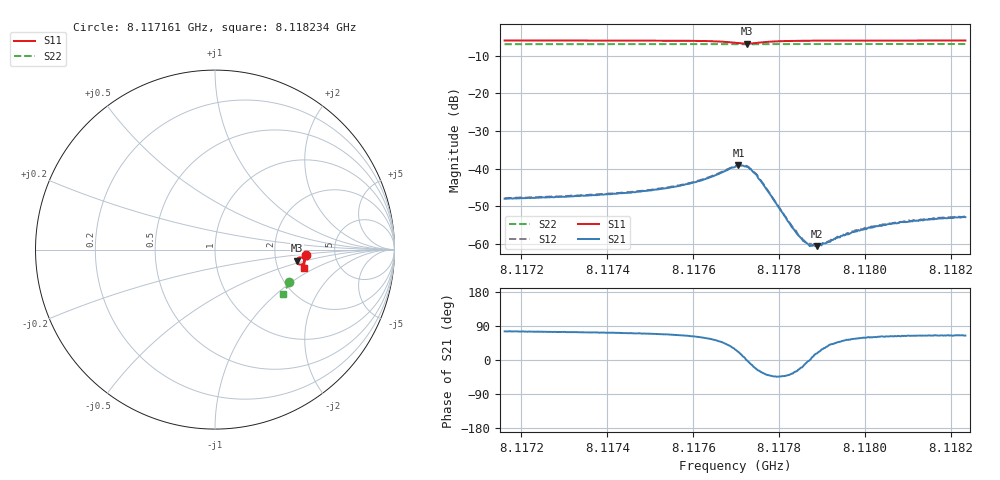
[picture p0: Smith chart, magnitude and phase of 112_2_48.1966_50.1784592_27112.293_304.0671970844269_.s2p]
#  HZ  S  RI  R  50.00
! Rohde & Schwarz Vector Network Analyzer
! Rohde-Schwarz,ZNB20-2Port,1311601062101988,3.16
! Created: UTC 3/20/2024, 11:41:02 AM
! freq[Hz]  re:S11  im:S11  re:S21  im:S21  re:S12  im:S12  re:S22  im:S22
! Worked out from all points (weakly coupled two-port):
!   401 points, 8.117161 GHz to 8.118234 GHz, reference 50 ohm
!   highest |S21| = -39.14 dB at 8.117705 GHz (marker M1); lowest = -60.6 dB at 8.117888 GHz (marker M2)
!   lowest |S11| = -6.8 dB at 8.117724 GHz (marker M3), VSWR 2.70, Z = 131 - j20.2 ohm
!   |S11| at or under -10 dB: nowhere
!   |S22| runs from -6.9 to -6.9 dB; largest |S21 - S12| = 0.00044
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8.1171607e9  0.505 -0.0296  0.000999 0.00387  0.00108 0.00395  0.4136 -0.1801
8.1173404e9  0.5033 -0.0446  0.00127 0.0042  0.00134 0.00425  0.4089 -0.1919
8.1174504e9  0.5016 -0.0548  0.00158 0.00454  0.0017 0.00461  0.406 -0.1991
8.1175201e9  0.4997 -0.0621  0.00197 0.00498  0.00205 0.00508  0.4038 -0.2035
8.1175737e9  0.497 -0.0686  0.00254 0.00548  0.00264 0.00553  0.4021 -0.2069
8.1176193e9  0.4925 -0.0755  0.00351 0.00607  0.00368 0.00614  0.4005 -0.2097
8.1176971e9  0.4645 -0.0804  0.00935 0.00494  0.00958 0.00499  0.3971 -0.2144
8.1177052e9  0.4598 -0.0764  0.0103 0.004  0.0104 0.00378  0.3965 -0.2147
8.1177239e9  0.4549 -0.0607  0.0106 -3.34e-05  0.0109 8.37e-06  0.396 -0.2151
8.11774e9  0.4618 -0.0479  0.00855 -0.00275  0.00875 -0.00271  0.396 -0.2155
8.1177508e9  0.4695 -0.0437  0.00671 -0.00349  0.00701 -0.00361  0.396 -0.2161
8.1178259e9  0.4953 -0.0562  0.00143 -0.00111  0.00149 -0.00112  0.3948 -0.2215
8.1178473e9  0.497 -0.0602  0.00115 -0.000508  0.00115 -0.000513  0.3942 -0.2229
8.1178634e9  0.4976 -0.063  0.00102 -0.000134  0.00103 -0.00014  0.3936 -0.224
8.1178768e9  0.498 -0.0652  0.000941 0.00013  0.000951 0.000103  0.3933 -0.2248
8.1178876e9  0.4981 -0.0668  0.000893 0.000278  0.000927 0.000306  0.3929 -0.2256
8.1178983e9  0.4982 -0.0682  0.000848 0.00044  0.000897 0.000449  0.3927 -0.2263
8.1179332e9  0.4984 -0.0725  0.000848 0.000871  0.000842 0.000873  0.3914 -0.2285
8.1179814e9  0.4983 -0.0779  0.000802 0.00123  0.000876 0.00126  0.3899 -0.2315
8.1180565e9  0.4973 -0.0852  0.000862 0.00163  0.000867 0.00167  0.3873 -0.2362
8.1181155e9  0.4968 -0.0905  0.0009 0.00184  0.000913 0.00185  0.3853 -0.2399
8.1182336e9  0.4949 -0.1001  0.000976 0.00205  0.00102 0.00211  0.3812 -0.2471
